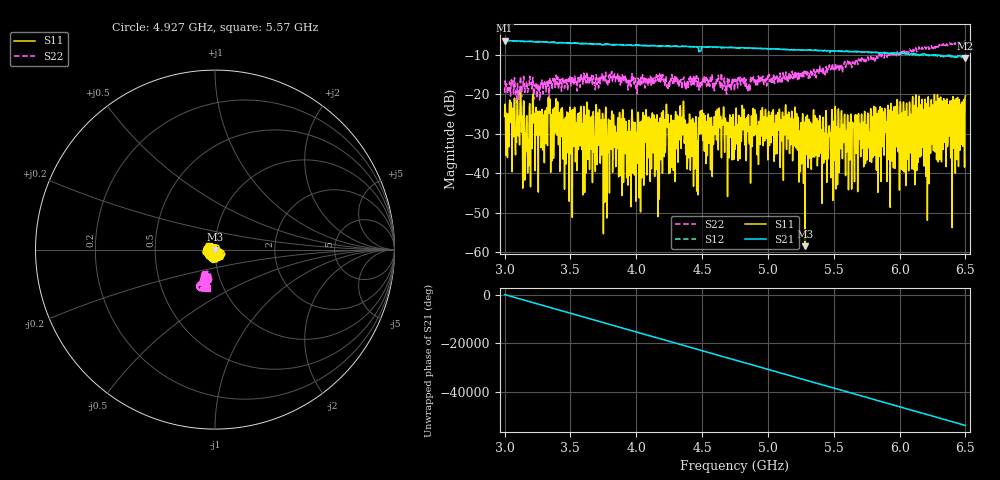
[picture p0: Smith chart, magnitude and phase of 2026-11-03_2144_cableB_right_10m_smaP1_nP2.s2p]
! HEWLETT PACKARD,8720ES,MY41003347,7.72, via bringup/vna_tests.py
! cableB_right_10m_smaP1_nP2
! measured 2026-11-03 21:45:32, 1601 points, 3000000000-6500000000 Hz, IF bandwidth 1000 Hz, source -40.00 dBm, kit CALK35MD
# HZ S RI R 50
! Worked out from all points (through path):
!   1601 points, 3 GHz to 6.5 GHz, reference 50 ohm
!   highest |S21| = -6.40 dB at 3 GHz (marker M1); lowest = -10.9 dB at 6.498 GHz (marker M2)
!   lowest |S11| = -58.5 dB at 5.282 GHz (marker M3), VSWR 1.00, Z = 50 - j0.119 ohm
!   |S11| at or under -10 dB: start of sweep to end of sweep
!   |S22| runs from -22.4 to -6.6 dB; largest |S21 - S12| = 0.055
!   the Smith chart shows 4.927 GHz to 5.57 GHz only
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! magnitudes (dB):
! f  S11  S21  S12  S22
! 3 GHz  -25.6  -6.4  -6.4  -19.6
! 3.133 GHz  -25.6  -6.5  -6.6  -18.2
! 3.168 GHz  -25.5  -6.7  -6.6  -16.7
! 3.228 GHz  -25.2  -6.7  -6.7  -17.7
! 3.584 GHz  -31.0  -7.3  -7.1  -16.1
! 3.709 GHz  -24.7  -7.3  -7.3  -16.1
! 3.768 GHz  -23.3  -7.5  -7.4  -14.4
! 3.818 GHz  -28.6  -7.5  -7.4  -16.4
! 3.943 GHz  -27.0  -7.5  -7.5  -16.1
! 4.081 GHz  -40.4  -7.7  -7.6  -16.4
! 4.168 GHz  -27.5  -7.9  -7.7  -16.0
! 4.345 GHz  -25.9  -7.9  -7.9  -18.1
! 4.452 GHz  -25.7  -8.0  -8.0  -16.7
! 4.494 GHz  -29.9  -8.8  -8.0  -16.5
! 4.75 GHz  -33.9  -8.2  -8.3  -16.9
! 5.142 GHz  -34.0  -8.7  -8.7  -15.6
! 5.282 GHz  -58.5  -8.8  -8.8  -14.6
! 5.334 GHz  -27.6  -8.8  -8.8  -14.9
! 5.918 GHz  -36.6  -9.6  -9.7  -10.1
! 6.406 GHz  -20.6  -10.5  -10.7  -7.1
! 6.498 GHz  -20.8  -10.9  -10.7  -6.6
! 6.5 GHz  -20.4  -10.8  -10.7  -6.6
